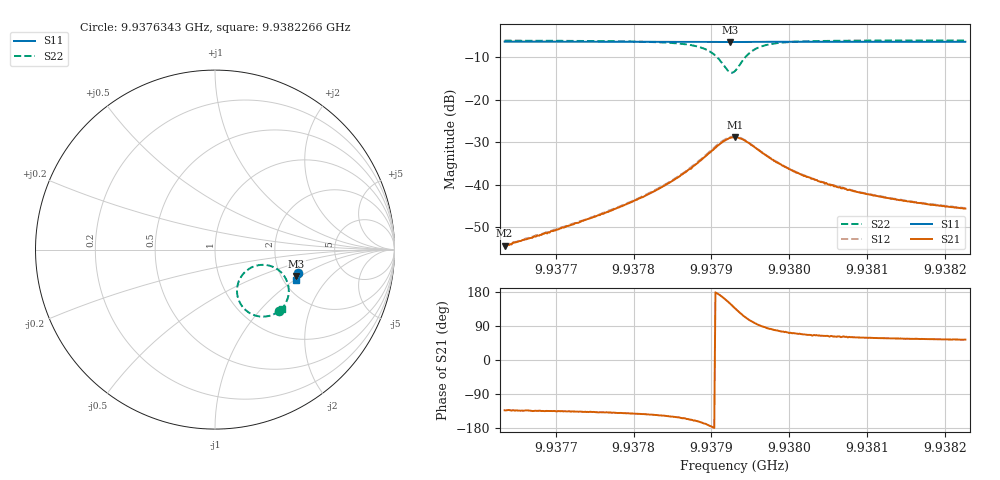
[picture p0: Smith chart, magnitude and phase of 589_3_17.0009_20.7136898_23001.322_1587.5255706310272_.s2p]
#  HZ  S  RI  R  50.00
! Rohde & Schwarz Vector Network Analyzer
! Rohde-Schwarz,ZNB20-2Port,1311601062101988,3.16
! Created: UTC 3/20/2024, 11:18:27 PM
! freq[Hz]  re:S11  im:S11  re:S21  im:S21  re:S12  im:S12  re:S22  im:S22
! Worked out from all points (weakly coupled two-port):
!   401 points, 9.9376343 GHz to 9.9382266 GHz, reference 50 ohm
!   highest |S21| = -28.84 dB at 9.9379304 GHz (marker M1); lowest = -54.4 dB at 9.9376343 GHz (marker M2)
!   lowest |S11| = -6.4 dB at 9.9379245 GHz (marker M3), VSWR 2.82, Z = 120 - j46 ohm
!   |S11| at or under -10 dB: nowhere
!   |S22| runs from -13.7 to -6.1 dB; largest |S21 - S12| = 0.0016
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9.93763432e9  0.4642 -0.1304  -0.0013 -0.00141  -0.0013 -0.00138  0.3591 -0.341
9.93773352e9  0.4619 -0.1369  -0.00272 -0.00259  -0.00278 -0.00255  0.3415 -0.3529
9.93778387e9  0.4605 -0.1404  -0.00424 -0.0036  -0.00437 -0.00354  0.3252 -0.361
9.93783273e9  0.4589 -0.144  -0.00746 -0.00502  -0.00768 -0.00505  0.2952 -0.3707
9.9378653e9  0.4574 -0.1463  -0.0124 -0.00614  -0.0127 -0.00587  0.253 -0.373
9.93789195e9  0.4557 -0.148  -0.021 -0.00441  -0.0217 -0.00395  0.185 -0.3482
9.93790232e9  0.455 -0.1483  -0.0257 -0.000995  -0.0266 -0.00039  0.1497 -0.3137
9.93791268e9  0.4538 -0.1483  -0.0304 0.00605  -0.0311 0.00722  0.1239 -0.2493
9.93792009e9  0.4534 -0.1479  -0.0312 0.0137  -0.0316 0.0152  0.129 -0.1865
9.93792453e9  0.4533 -0.1476  -0.0302 0.0188  -0.0302 0.0205  0.1474 -0.1482
9.93793045e9  0.4534 -0.1472  -0.0262 0.0248  -0.0258 0.0263  0.189 -0.1075
9.93793785e9  0.454 -0.147  -0.0188 0.0294  -0.0178 0.0305  0.2544 -0.0853
9.93794822e9  0.4549 -0.1473  -0.00863 0.0298  -0.0078 0.0302  0.3329 -0.101
9.93796302e9  0.4557 -0.1487  -0.000135 0.0246  0.000449 0.0248  0.39 -0.1538
9.93797635e9  0.4559 -0.15  0.00279 0.0202  0.00345 0.0202  0.4072 -0.1948
9.93799412e9  0.4558 -0.1516  0.00462 0.0156  0.00492 0.0157  0.4113 -0.2323
9.93801633e9  0.4554 -0.1533  0.00484 0.0121  0.00506 0.0122  0.4078 -0.2615
9.93802965e9  0.455 -0.1545  0.00508 0.0106  0.00505 0.0106  0.4045 -0.2733
9.93806519e9  0.4542 -0.1569  0.0044 0.00824  0.0046 0.00827  0.3961 -0.2942
9.93812886e9  0.4523 -0.1614  0.00375 0.00582  0.00393 0.0058  0.3844 -0.3144
9.9381792e9  0.451 -0.1648  0.00336 0.00482  0.00351 0.00481  0.3775 -0.3237
9.93822658e9  0.4496 -0.1677  0.00311 0.00423  0.00322 0.0042  0.3719 -0.3301
